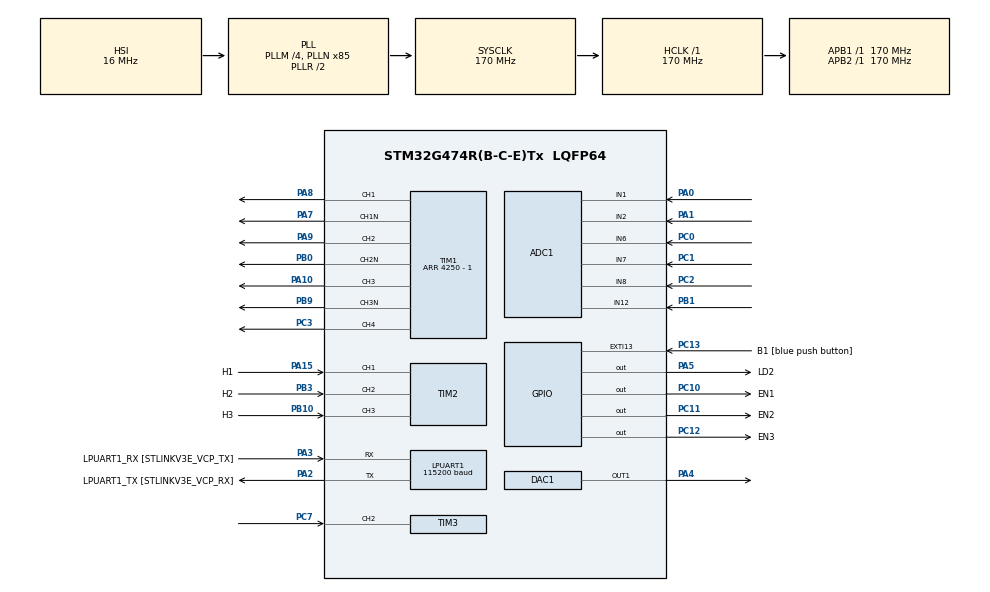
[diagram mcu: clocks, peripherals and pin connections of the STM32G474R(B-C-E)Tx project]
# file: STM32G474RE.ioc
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ADC1.Channel-0\#ChannelRegularConversion=ADC_CHANNEL_2
ADC1.Channel-4\#ChannelRegularConversion=ADC_CHANNEL_12
ADC1.ContinuousConvMode=ENABLE
ADC1.DMAContinuousRequests=ENABLE
ADC1.EnableInjectedConversion=ENABLE
ADC1.ExternalTrigInjecConv=ADC_EXTERNALTRIGINJEC_T1_TRGO
ADC1.InjNumberOfConversion=3
ADC1.InjectedChannel-1\#ChannelInjectedConversion=ADC_CHANNEL_1
ADC1.InjectedChannel-2\#ChannelInjectedConversion=ADC_CHANNEL_7
ADC1.InjectedChannel-3\#ChannelInjectedConversion=ADC_CHANNEL_6
ADC1.InjectedOffsetNumber-1\#ChannelInjectedConversion=ADC_OFFSET_NONE
ADC1.InjectedOffsetNumber-2\#ChannelInjectedConversion=ADC_OFFSET_NONE
ADC1.InjectedOffsetNumber-3\#ChannelInjectedConversion=ADC_OFFSET_NONE
ADC1.InjectedRank-1\#ChannelInjectedConversion=1
ADC1.InjectedRank-2\#ChannelInjectedConversion=2
ADC1.InjectedRank-3\#ChannelInjectedConversion=3
ADC1.InjectedSamplingTime-1\#ChannelInjectedConversion=ADC_SAMPLETIME_2CYCLES_5
ADC1.InjectedSamplingTime-2\#ChannelInjectedConversion=ADC_SAMPLETIME_2CYCLES_5
ADC1.InjectedSamplingTime-3\#ChannelInjectedConversion=ADC_SAMPLETIME_2CYCLES_5
ADC1.NbrOfConversion=2
ADC1.NbrOfConversionFlag=1
ADC1.OffsetNumber-0\#ChannelRegularConversion=ADC_OFFSET_NONE
ADC1.OffsetNumber-4\#ChannelRegularConversion=ADC_OFFSET_NONE
ADC1.Rank-0\#ChannelRegularConversion=1
ADC1.Rank-4\#ChannelRegularConversion=2
ADC1.SamplingTime-0\#ChannelRegularConversion=ADC_SAMPLETIME_2CYCLES_5
ADC1.SamplingTime-4\#ChannelRegularConversion=ADC_SAMPLETIME_2CYCLES_5
ADC1.master=1
DAC1.DAC_Trigger_OUT1-DAC_OUT1=DAC_TRIGGER_SOFTWARE
Dma.ADC1.0.Direction=DMA_PERIPH_TO_MEMORY
Dma.ADC1.0.EventEnable=DISABLE
Dma.ADC1.0.Instance=DMA1_Channel1
Dma.ADC1.0.MemDataAlignment=DMA_MDATAALIGN_HALFWORD
Dma.ADC1.0.MemInc=DMA_MINC_ENABLE
Dma.ADC1.0.Mode=DMA_CIRCULAR
Dma.ADC1.0.PeriphDataAlignment=DMA_PDATAALIGN_HALFWORD
Dma.ADC1.0.PeriphInc=DMA_PINC_DISABLE
Dma.ADC1.0.Polarity=HAL_DMAMUX_REQ_GEN_RISING
Dma.ADC1.0.Priority=DMA_PRIORITY_LOW
Dma.ADC1.0.RequestNumber=1
Dma.ADC1.0.SignalID=NONE
Dma.ADC1.0.SyncEnable=DISABLE
Dma.ADC1.0.SyncPolarity=HAL_DMAMUX_SYNC_NO_EVENT
Dma.ADC1.0.SyncRequestNumber=1
Dma.ADC1.0.SyncSignalID=NONE
Dma.DAC1_CH1.1.Direction=DMA_MEMORY_TO_PERIPH
Dma.DAC1_CH1.1.EventEnable=DISABLE
Dma.DAC1_CH1.1.Instance=DMA1_Channel2
Dma.DAC1_CH1.1.MemDataAlignment=DMA_MDATAALIGN_HALFWORD
Dma.DAC1_CH1.1.MemInc=DMA_MINC_ENABLE
Dma.DAC1_CH1.1.Mode=DMA_CIRCULAR
Dma.DAC1_CH1.1.PeriphDataAlignment=DMA_PDATAALIGN_HALFWORD
Dma.DAC1_CH1.1.PeriphInc=DMA_PINC_DISABLE
Dma.DAC1_CH1.1.Polarity=HAL_DMAMUX_REQ_GEN_RISING
Dma.DAC1_CH1.1.Priority=DMA_PRIORITY_LOW
Dma.DAC1_CH1.1.RequestNumber=1
Dma.DAC1_CH1.1.SignalID=NONE
Dma.DAC1_CH1.1.SyncEnable=DISABLE
Dma.DAC1_CH1.1.SyncPolarity=HAL_DMAMUX_SYNC_NO_EVENT
Dma.DAC1_CH1.1.SyncRequestNumber=1
Dma.DAC1_CH1.1.SyncSignalID=NONE
Dma.Request0=ADC1
Dma.Request1=DAC1_CH1
LPUART1.BaudRate=115200
LPUART1.WordLength=UART_WORDLENGTH_8B
Mcu.Family=STM32G4
Mcu.Name=STM32G474R(B-C-E)Tx
Mcu.Package=LQFP64
NVIC.ADC1_2_IRQn=true\:0\:0\:false\:false\:true\:true\:true\:true
NVIC.DMA1_Channel1_IRQn=true\:0\:0\:false\:false\:true\:false\:true\:true
NVIC.DMA1_Channel2_IRQn=true\:0\:0\:false\:false\:true\:false\:true\:true
NVIC.EXTI15_10_IRQn=true\:0\:0\:false\:false\:true\:true\:true\:true
NVIC.PriorityGroup=NVIC_PRIORITYGROUP_4
NVIC.TIM3_IRQn=true\:0\:0\:false\:false\:true\:true\:true\:true
PA0.Mode=IN1-Single-Ended
PA0.Signal=ADC1_IN1
PA1.Mode=IN2-Single-Ended
PA1.Signal=ADC1_IN2
PA10.Signal=S_TIM1_CH3
PA13.GPIO_Label=T_SWDIO
PA13.Mode=Serial_Wire
PA13.Signal=SYS_JTMS-SWDIO
PA14.GPIO_Label=T_SWCLK
PA14.Mode=Serial_Wire
PA14.Signal=SYS_JTCK-SWCLK
PA15.GPIO_Label=H1
PA15.Signal=S_TIM2_CH1
PA2.GPIO_Label=LPUART1_TX [STLINKV3E_VCP_RX]
PA2.Mode=Asynchronous
PA2.Signal=LPUART1_TX
PA3.GPIO_Label=LPUART1_RX [STLINKV3E_VCP_TX]
PA3.Mode=Asynchronous
PA3.Signal=LPUART1_RX
PA4.Signal=COMP_DAC11_group
PA5.GPIO_Label=LD2
PA5.Signal=GPIO_Output
PA7.Mode=PWM Generation1 CH1 CH1N
PA7.Signal=TIM1_CH1N
PA8.Signal=S_TIM1_CH1
PA9.Signal=S_TIM1_CH2
PB0.Mode=PWM Generation2 CH2 CH2N
PB0.Signal=TIM1_CH2N
PB1.Mode=IN12-Single-Ended
PB1.Signal=ADC1_IN12
PB10.GPIO_Label=H3
PB10.Signal=S_TIM2_CH3
PB3.GPIO_Label=H2
PB3.Signal=S_TIM2_CH2
PB9.Mode=PWM Generation3 CH3 CH3N
PB9.Signal=TIM1_CH3N
PC0.Mode=IN6-Single-Ended
PC0.Signal=ADC1_IN6
PC1.Mode=IN7-Single-Ended
PC1.Signal=ADC1_IN7
PC10.GPIO_Label=EN1
PC10.Signal=GPIO_Output
PC11.GPIO_Label=EN2
PC11.Signal=GPIO_Output
PC12.GPIO_Label=EN3
PC12.Signal=GPIO_Output
PC13.GPIO_Label=B1 [blue push button]
PC13.Signal=GPXTI13
PC14-OSC32_IN.Mode=LSE-External-Oscillator
PC14-OSC32_IN.Signal=RCC_OSC32_IN
PC15-OSC32_OUT.Mode=LSE-External-Oscillator
PC15-OSC32_OUT.Signal=RCC_OSC32_OUT
PC2.Mode=IN8-Single-Ended
PC2.Signal=ADC1_IN8
PC3.Signal=S_TIM1_CH4
PC7.Signal=S_TIM3_CH2
PF0-OSC_IN.Mode=HSE-External-Oscillator
PF0-OSC_IN.Signal=RCC_OSC_IN
PF1-OSC_OUT.Mode=HSE-External-Oscillator
PF1-OSC_OUT.Signal=RCC_OSC_OUT
ProjectManager.HeapSize=0x200
ProjectManager.StackSize=0x400
ProjectManager.TargetToolchain=STM32CubeIDE
RCC.ADC12Freq_Value=170000000
RCC.ADC345Freq_Value=170000000
RCC.AHBFreq_Value=170000000
RCC.APB1Freq_Value=170000000
RCC.APB1TimFreq_Value=170000000
RCC.APB2Freq_Value=170000000
RCC.APB2TimFreq_Value=170000000
RCC.CortexFreq_Value=170000000
RCC.EXTERNAL_CLOCK_VALUE=12288000
RCC.HCLKFreq_Value=170000000
RCC.HSE_VALUE=24000000
RCC.HSI48_VALUE=48000000
RCC.HSI_VALUE=16000000
RCC.PLLM=RCC_PLLM_DIV4
RCC.PLLN=85
RCC.RTCClockSelection=RCC_RTCCLKSOURCE_LSE
RCC.SYSCLKFreq_VALUE=170000000
RCC.SYSCLKSource=RCC_SYSCLKSOURCE_PLLCLK
RCC.USBFreq_Value=170000000
RCC.VCOOutputFreq_Value=340000000
SH.COMP_DAC11_group.0=DAC1_OUT1,DAC_OUT1
SH.S_TIM1_CH1.0=TIM1_CH1,PWM Generation1 CH1 CH1N
SH.S_TIM1_CH2.0=TIM1_CH2,PWM Generation2 CH2 CH2N
SH.S_TIM1_CH3.0=TIM1_CH3,PWM Generation3 CH3 CH3N
SH.S_TIM1_CH4.0=TIM1_CH4,PWM Generation4 CH4
SH.S_TIM2_CH1.0=TIM2_CH1,Input_Capture1_from_TI1
SH.S_TIM2_CH2.0=TIM2_CH2,Input_Capture2_from_TI2
SH.S_TIM2_CH3.0=TIM2_CH3,Input_Capture3_from_TI3
SH.S_TIM3_CH2.0=TIM3_CH2,Input_Capture2_from_TI2
TIM1.Channel-PWM\ Generation1\ CH1\ CH1N=TIM_CHANNEL_1
TIM1.Channel-PWM\ Generation2\ CH2\ CH2N=TIM_CHANNEL_2
TIM1.Channel-PWM\ Generation3\ CH3\ CH3N=TIM_CHANNEL_3
TIM1.Channel-PWM\ Generation4\ CH4=TIM_CHANNEL_4
TIM1.CounterMode=TIM_COUNTERMODE_CENTERALIGNED1
TIM1.DeadTime=100
TIM1.OCMode_PWM-PWM\ Generation4\ CH4=TIM_OCMODE_PWM2
TIM1.PeriodNoDither=4250 - 1
TIM1.TIM_MasterOutputTrigger=TIM_TRGO_OC4REF
TIM2.Channel-Input_Capture1_from_TI1=TIM_CHANNEL_1
TIM2.Channel-Input_Capture2_from_TI2=TIM_CHANNEL_2
TIM2.Channel-Input_Capture3_from_TI3=TIM_CHANNEL_3
TIM2.ICFilter_CH1=1
TIM2.ICFilter_CH2=1
TIM2.ICFilter_CH3=1
TIM3.Channel-Input_Capture2_from_TI2=TIM_CHANNEL_2
TIM3.ICPolarity_CH2=TIM_INPUTCHANNELPOLARITY_RISING
TIM3.Prescaler=2
TIM7.PeriodNoDither=5000 - 1
TIM7.TIM_MasterOutputTrigger=TIM_TRGO_UPDATE
VP_SYS_VS_DBSignals.Mode=DisableDeadBatterySignals
VP_TIM3_VS_ClockSourceINT.Mode=Internal
VP_TIM7_VS_ClockSourceINT.Mode=Enable_Timer
board=NUCLEO-G474RE

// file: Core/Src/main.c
/* USER CODE BEGIN Header */
/**
  ******************************************************************************
  * @file           : main.c
  * @brief          : Main program body
  ******************************************************************************
  * @attention
  *
  * Copyright (c) 2023 STMicroelectronics.
  * All rights reserved.
  *
  * This software is licensed under terms that can be found in the LICENSE file
  * in the root directory of this software component.
  * If no LICENSE file comes with this software, it is provided AS-IS.
  *
  ******************************************************************************
  */
/* USER CODE END Header */
#include "main.h"
#include "adc.h"
#include "dac.h"
#include "dma.h"
#include "usart.h"
#include "tim.h"
#include "gpio.h"

/* USER CODE BEGIN Includes */
#include "GlogalVariables.h"
#include "SixsStep.h"
#include "SignalReadWrite.h"
/* USER CODE END Includes */

/* USER CODE BEGIN PD */
#define TIMCLOCK 170000000
#define PRESCALAR 2

/* USER CODE END PD */

ADC_HandleTypeDef hadc1;
DMA_HandleTypeDef hdma_adc1;

DAC_HandleTypeDef hdac1;
DMA_HandleTypeDef hdma_dac1_ch1;

UART_HandleTypeDef hlpuart1;

TIM_HandleTypeDef htim1;
TIM_HandleTypeDef htim2;
TIM_HandleTypeDef htim7;

void SystemClock_Config(void);
// static void MX_GPIO_Init(void);
// static void MX_DMA_Init(void);
// static void MX_LPUART1_UART_Init(void);
// static void MX_ADC1_Init(void);
// static void MX_TIM1_Init(void);
// static void MX_TIM2_Init(void);
// static void MX_DAC1_Init(void);
// static void MX_TIM7_Init(void);

/* USER CODE BEGIN 0 */
uint32_t IC_Val1 = 0;
uint32_t IC_Val2 = 0;
uint32_t Difference = 0;
uint16_t TIM3_OVC = 0;
int Is_First_Captured = 0;
float gPropoDuty = 0;

void HAL_TIM_IC_CaptureCallback(TIM_HandleTypeDef * htim)
{
if(htim -> Channel == HAL_TIM_ACTIVE_CHANNEL_2)
  {
    if(Is_First_Captured == 0)
    {
    IC_Val1 = HAL_TIM_ReadCapturedValue(htim , TIM_CHANNEL_2); //read first value
    Is_First_Captured = 1;
    //Change the polarity to falling edge
    __HAL_TIM_SET_CAPTUREPOLARITY(htim,TIM_CHANNEL_2,TIM_INPUTCHANNELPOLARITY_FALLING);
    }

  else if (Is_First_Captured ==1)
  {
    IC_Val2 = HAL_TIM_ReadCapturedValue(htim,TIM_CHANNEL_2);
    __HAL_TIM_SET_COUNTER(htim,0);

    if(IC_Val2 > IC_Val1)
    {
      Difference = IC_Val2-IC_Val1;
      gPropoDuty = (0.00011 * Difference) - 3.1;

      if(gPropoDuty > -0.06f && gPropoDuty < 0.06f){
        gPropoDuty = 0;
      }
    }

    Is_First_Captured = 0;
    __HAL_TIM_SET_CAPTUREPOLARITY(htim,TIM_CHANNEL_2,TIM_INPUTCHANNELPOLARITY_RISING);
  }
 }
}

/* USER CODE END 0 */

int main(void)
{

  /* MCU Configuration--------------------------------------------------------*/

  /* Reset of all peripherals, Initializes the Flash interface and the Systick. */
  HAL_Init();

  /* Configure the system clock */
  SystemClock_Config();

  /* Initialize all configured peripherals */
  MX_GPIO_Init();
  MX_DMA_Init();
  MX_LPUART1_UART_Init();
  MX_ADC1_Init();
  MX_TIM1_Init();
  MX_TIM2_Init();
  MX_DAC1_Init();
  MX_TIM7_Init();
  MX_TIM3_Init();
  /* USER CODE BEGIN 2 */
  HAL_TIM_Base_Start_IT(&htim1);
  HAL_ADCEx_InjectedStart_IT(&hadc1);
  HAL_GPIO_WritePin(EN1_GPIO_Port, EN1_Pin, GPIO_PIN_SET);
  HAL_GPIO_WritePin(EN2_GPIO_Port, EN2_Pin, GPIO_PIN_SET);
  HAL_GPIO_WritePin(EN3_GPIO_Port, EN3_Pin, GPIO_PIN_SET);
  HAL_TIM_PWM_Start(&htim1, TIM_CHANNEL_1);
  HAL_TIMEx_PWMN_Start(&htim1, TIM_CHANNEL_1);
  HAL_TIM_PWM_Start(&htim1, TIM_CHANNEL_2);
  HAL_TIMEx_PWMN_Start(&htim1, TIM_CHANNEL_2);
  HAL_TIM_PWM_Start(&htim1, TIM_CHANNEL_3);
  HAL_TIMEx_PWMN_Start(&htim1, TIM_CHANNEL_3);

  TIM1 -> RCR = 1;
  TIM1 -> EGR  |= TIM_EGR_UG;
  TIM1 -> CNT = TIM1 -> ARR;
  TIM1 -> CR1 &= ~(TIM_CR1_CMS);
  TIM1 -> CR1 |= TIM_CR1_DIR;
  TIM1 -> CR1 |= TIM_CR1_CMS;

  TIM1 -> CCR4 = (TIM1 -> ARR) - 40;//for Carrier Top Interrupt

  // Start TIM2 Input Capture
  HAL_TIM_Base_Start_IT(&htim2);
  HAL_TIM_IC_Start_IT(&htim2, TIM_CHANNEL_1);
  HAL_TIM_IC_Start_IT(&htim2, TIM_CHANNEL_2);
  HAL_TIM_IC_Start_IT(&htim2, TIM_CHANNEL_3);

  // Start TIM3 Input Capture
  HAL_TIM_IC_Start_IT(&htim3,TIM_CHANNEL_2);

  // Start TIM7 for DAC
  HAL_TIM_Base_Start(&htim7);
  HAL_TIM_GenerateEvent(&htim7, TIM_EVENTSOURCE_UPDATE);

  // Start DMA (This function needs to be called after Starting TIM1 & TIM2)
  HAL_ADC_Start_DMA(&hadc1, (uint32_t*)gAdcValue, 2);
  uint16_t data = 2048;
  HAL_DAC_Start(&hdac1, DAC_CHANNEL_1);
  HAL_DAC_SetValue(&hdac1, DAC_CHANNEL_1, DAC_ALIGN_12B_R, data);
  /*
  const double timer_clock = 170e6;
  const double sin_frequency_Hz = 2000;
  double sampling_rate = timer_clock / (htim7.Instance->ARR + 1) / (htim7.Instance->PSC + 1);
  int32_t length = (int32_t)round(sampling_rate / sin_frequency_Hz);
  int16_t *DAC_buff = malloc(sizeof(int16_t) * length);

  for (int16_t i = 0; i < length; i++)
  {
      double a = sinf(i / (double)length * PI * 2) * 1800.0f + 2048.0f;

      if (a < 0)
      {
          a = 0;
      }
      if (a > 4095)
      {
          a = 4095;
      }

      DAC_buff[i] = (int16_t)a;
  }

  HAL_DAC_Start_DMA(&hdac1, DAC_CHANNEL_1, (uint32_t *)DAC_buff, length, DAC_ALIGN_12B_R);
*/
  //HAL_DAC_Start_DMA(&hdac1, DAC_CHANNEL_1, (uint32_t *)gTheta_DAC, 4096, DAC_ALIGN_12B_R);

  /* USER CODE END 2 */

  /* Infinite loop */
  while (1)
  {
HAL_DAC_SetValue(&hdac1, DAC_CHANNEL_1, DAC_ALIGN_12B_R, data);
  }
}

void SystemClock_Config(void)
{
  RCC_OscInitTypeDef RCC_OscInitStruct = {0};
  RCC_ClkInitTypeDef RCC_ClkInitStruct = {0};

  /** Configure the main internal regulator output voltage
  */
  HAL_PWREx_ControlVoltageScaling(PWR_REGULATOR_VOLTAGE_SCALE1_BOOST);

  /** Initializes the RCC Oscillators according to the specified parameters
  * in the RCC_OscInitTypeDef structure.
  */
  RCC_OscInitStruct.OscillatorType = RCC_OSCILLATORTYPE_HSI;
  RCC_OscInitStruct.HSIState = RCC_HSI_ON;
  RCC_OscInitStruct.HSICalibrationValue = RCC_HSICALIBRATION_DEFAULT;
  RCC_OscInitStruct.PLL.PLLState = RCC_PLL_ON;
  RCC_OscInitStruct.PLL.PLLSource = RCC_PLLSOURCE_HSI;
  RCC_OscInitStruct.PLL.PLLM = RCC_PLLM_DIV4;
  RCC_OscInitStruct.PLL.PLLN = 85;
  RCC_OscInitStruct.PLL.PLLP = RCC_PLLP_DIV2;
  RCC_OscInitStruct.PLL.PLLQ = RCC_PLLQ_DIV2;
  RCC_OscInitStruct.PLL.PLLR = RCC_PLLR_DIV2;
  if (HAL_RCC_OscConfig(&RCC_OscInitStruct) != HAL_OK)
  {
    Error_Handler();
  }

  /** Initializes the CPU, AHB and APB buses clocks
  */
  RCC_ClkInitStruct.ClockType = RCC_CLOCKTYPE_HCLK|RCC_CLOCKTYPE_SYSCLK
                              |RCC_CLOCKTYPE_PCLK1|RCC_CLOCKTYPE_PCLK2;
  RCC_ClkInitStruct.SYSCLKSource = RCC_SYSCLKSOURCE_PLLCLK;
  RCC_ClkInitStruct.AHBCLKDivider = RCC_SYSCLK_DIV1;
  RCC_ClkInitStruct.APB1CLKDivider = RCC_HCLK_DIV1;
  RCC_ClkInitStruct.APB2CLKDivider = RCC_HCLK_DIV1;

  if (HAL_RCC_ClockConfig(&RCC_ClkInitStruct, FLASH_LATENCY_4) != HAL_OK)
  {
    Error_Handler();
  }
}

void Error_Handler(void)
{
  __disable_irq();
  while (1)
  {
  }
}
